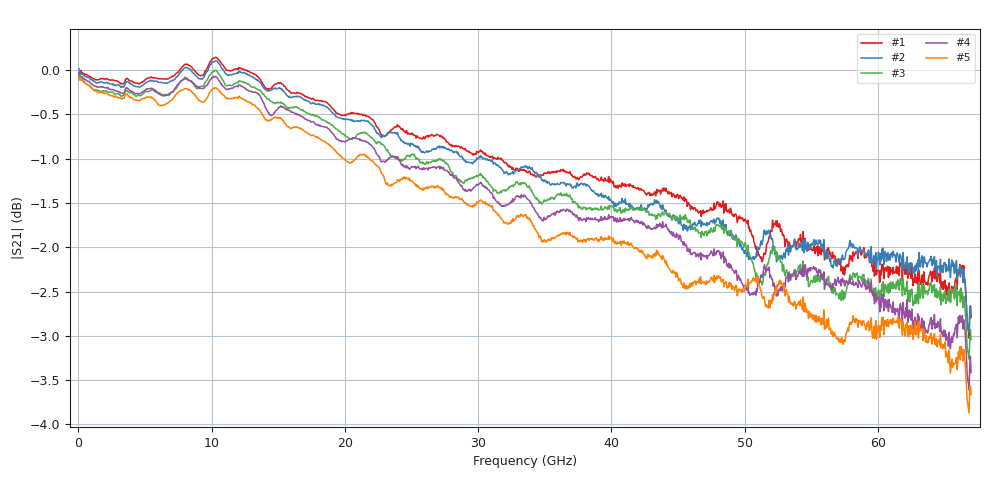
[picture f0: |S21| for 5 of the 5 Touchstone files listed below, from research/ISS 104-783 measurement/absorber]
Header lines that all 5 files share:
#  HZ  S  MA  R  50.00
! Rohde & Schwarz ZVA67 4Ports - Version 4.11 - 1305.7002k04 SN: 101051
! Measurements: S11 S21 S12 S22
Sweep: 50 MHz to 67 GHz
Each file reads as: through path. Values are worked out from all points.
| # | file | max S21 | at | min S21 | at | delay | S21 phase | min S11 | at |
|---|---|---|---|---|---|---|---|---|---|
| 1 | Line_A1_DC_to_67_GHz.s2p | 0.14 dB | 10.3 GHz | -3.0 dB | 66.85 GHz | 375 ps | 149 deg at 33.55 GHz | -50.0 dB | 12.25 GHz |
| 2 | Line_A2_DC_to_67_GHz.s2p | 0.10 dB | 10.3 GHz | -3.0 dB | 66.8 GHz | 378 ps | 109 deg at 33.55 GHz | -45.7 dB | 3.8 GHz |
| 3 | Line_A3_DC_to_67_GHz.s2p | 0.00 dB | 10.35 GHz | -3.3 dB | 66.85 GHz | 385 ps | 26 deg at 33.55 GHz | -48.7 dB | 1.7 GHz |
| 4 | Line_A4_DC_to_67_GHz.s2p | -0.03 dB | 50 MHz | -3.6 dB | 66.85 GHz | 398 ps | -130 deg at 33.55 GHz | -44.7 dB | 800 MHz |
| 5 | Line_A5_DC_to_67_GHz.s2p | -0.08 dB | 100 MHz | -3.9 dB | 66.85 GHz | 411 ps | 69 deg at 33.55 GHz | -60.0 dB | 850 MHz |
